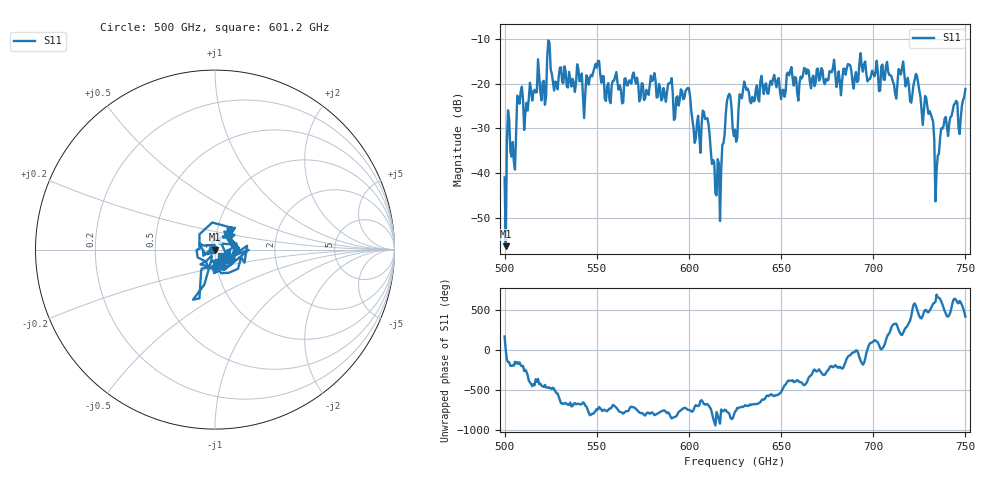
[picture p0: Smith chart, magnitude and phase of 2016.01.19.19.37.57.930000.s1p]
!Created with skrf (http://scikit-rf.org).
# GHz S RI R 50.0
!freq ReS11 ImS11
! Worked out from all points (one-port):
!   401 points, 500 GHz to 750 GHz, reference 50 ohm
!   lowest |S11| = -56.3 dB at 500.6 GHz (marker M1), VSWR 1.00, Z = 50.2 - j0.0117 ohm
!   |S11| at or under -10 dB: start of sweep to end of sweep
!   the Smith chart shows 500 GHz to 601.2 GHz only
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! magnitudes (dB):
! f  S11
! 500 GHz  -41.0
! 500.6 GHz  -56.3
! 502.5 GHz  -28.0
! 505 GHz  -37.3
! 508.1 GHz  -24.4
! 521.2 GHz  -19.3
! 524.4 GHz  -10.9
! 527.5 GHz  -19.5
! 531.2 GHz  -19.6
! 543.8 GHz  -22.4
! 550 GHz  -16.4
! 562.5 GHz  -20.3
! 580.6 GHz  -19.0
! 593.8 GHz  -22.8
! 599.4 GHz  -21.0
! 605 GHz  -27.1
! 608.8 GHz  -27.9
! 615.6 GHz  -36.9
! 621.2 GHz  -22.8
! 625 GHz  -30.3
! 630.6 GHz  -20.6
! 656.2 GHz  -18.7
! 687.5 GHz  -15.9
! 718.8 GHz  -18.7
! 729.4 GHz  -25.2
! 734.4 GHz  -39.4
! 738.1 GHz  -29.5
! 750 GHz  -21.2
